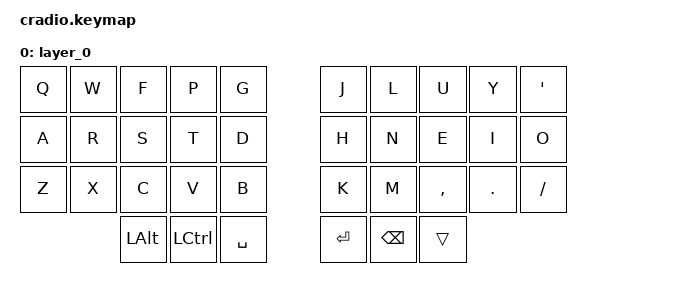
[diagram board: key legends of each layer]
#include <behaviors.dtsi>
#include <dt-bindings/zmk/keys.h>

&kscan0 {
    input-gpios =
        <&pro_micro  7 (GPIO_ACTIVE_LOW | GPIO_PULL_UP)>,
        <&pro_micro 18 (GPIO_ACTIVE_LOW | GPIO_PULL_UP)>,
        <&pro_micro 19 (GPIO_ACTIVE_LOW | GPIO_PULL_UP)>,
        <&pro_micro 20 (GPIO_ACTIVE_LOW | GPIO_PULL_UP)>,
        <&pro_micro 21 (GPIO_ACTIVE_LOW | GPIO_PULL_UP)>,
        <&pro_micro 15 (GPIO_ACTIVE_LOW | GPIO_PULL_UP)>,
        <&pro_micro 14 (GPIO_ACTIVE_LOW | GPIO_PULL_UP)>,
        <&pro_micro 16 (GPIO_ACTIVE_LOW | GPIO_PULL_UP)>,
        <&pro_micro 10 (GPIO_ACTIVE_LOW | GPIO_PULL_UP)>,
        <&pro_micro  1 (GPIO_ACTIVE_LOW | GPIO_PULL_UP)>,
        <&pro_micro  2 (GPIO_ACTIVE_LOW | GPIO_PULL_UP)>,
        <&pro_micro  3 (GPIO_ACTIVE_LOW | GPIO_PULL_UP)>,
        <&pro_micro  4 (GPIO_ACTIVE_LOW | GPIO_PULL_UP)>,
        <&pro_micro  5 (GPIO_ACTIVE_LOW | GPIO_PULL_UP)>,
        <&pro_micro  6 (GPIO_ACTIVE_LOW | GPIO_PULL_UP)>,
        <&pro_micro  0 (GPIO_ACTIVE_LOW | GPIO_PULL_UP)>,
        <&pro_micro  8 (GPIO_ACTIVE_LOW | GPIO_PULL_UP)>,
        <&pro_micro  9 (GPIO_ACTIVE_LOW | GPIO_PULL_UP)>;
};

/ {
    keymap {
        compatible = "zmk,keymap";

        layer_0 {
            bindings = <
  &kp Q  &kp W  &kp F     &kp P      &kp G        &kp J      &kp L     &kp U      &kp Y    &kp APOS
  &kp A  &kp R  &kp S     &kp T      &kp D        &kp H      &kp N     &kp E      &kp I    &kp O
  &kp Z  &kp X  &kp C     &kp V      &kp B        &kp K      &kp M     &kp COMMA  &kp DOT  &kp FSLH
                &kp LALT  &kp LCTRL  &kp SPACE    &kp ENTER  &kp BSPC  &trans
            >;
        };
    };
};
